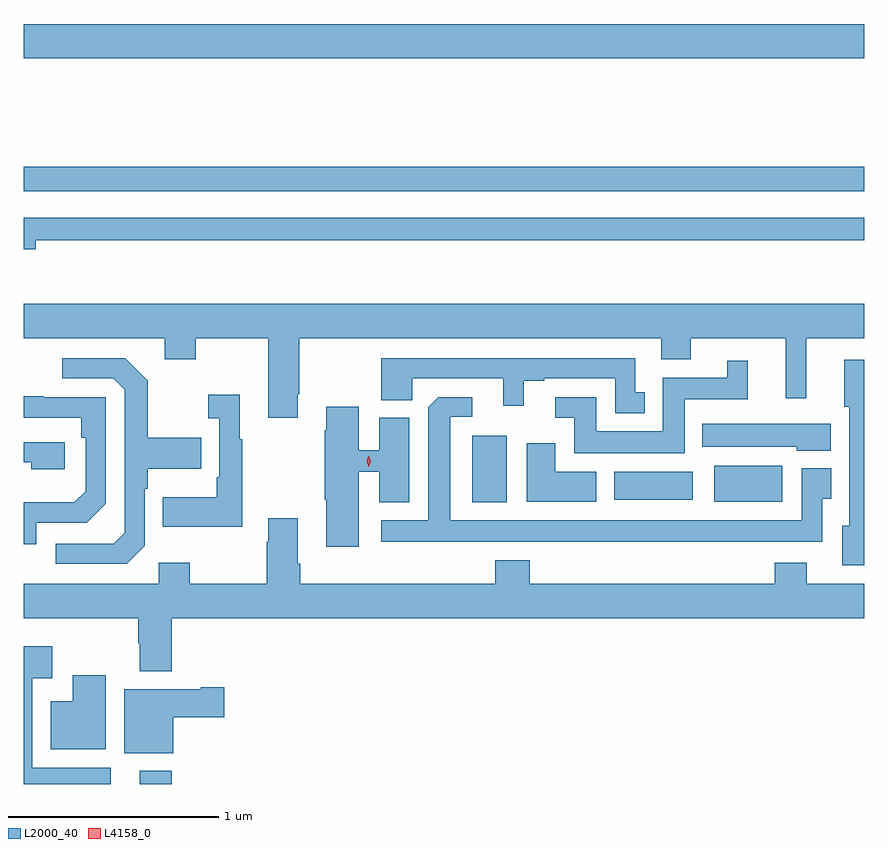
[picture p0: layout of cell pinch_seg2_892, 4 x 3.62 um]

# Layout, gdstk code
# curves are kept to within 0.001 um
import gdstk
lib = gdstk.Library(unit=1e-6, precision=1e-09)
def R(c, l, rs):  # rectangles x0, y0, x1, y1
    for r in rs: c.add(gdstk.rectangle(r[:2], r[2:], *l))
def P(c, l, *ps):  # polygons
    for p in ps: c.add(gdstk.Polygon(p, *l))
L2000_40 = (2000, 40)
L4158_0 = (4158, 0)

pinch_seg2_892 = lib.new_cell('pinch_seg2_892')
R(pinch_seg2_892, L2000_40, [(407.531,634.859,407.684,634.921), (409.115,636.2,409.279,636.517), (410.267,636.203,410.59,636.373), (409.79,636.212,410.164,636.346), (406.98,637.68,410.98,637.796), (406.98,638.312,410.98,638.476)])
P(pinch_seg2_892, L2000_40, [(407.038,637.446),(410.98,637.446),(410.98,637.554),(406.98,637.554),(406.98,637.403),(407.038,637.403)],
  [(408.283,636.715),(408.291,636.715),(408.291,636.98),(410.015,636.98),(410.015,636.881),(410.155,636.881),(410.155,636.98),(410.606,636.98),(410.606,636.696),(410.705,636.696),(410.705,636.98),(410.98,636.98),(410.98,637.144),(406.98,637.144),(406.98,636.98),(407.651,636.98),(407.651,636.881),(407.799,636.881),(407.799,636.98),(408.143,636.98),(408.143,636.603),(408.283,636.603)],
  [(407.556,635.994),(407.556,636.263),(407.569,636.263),(407.569,636.359),(407.825,636.359),(407.825,636.507),(407.569,636.507),(407.569,636.779),(407.463,636.885),(407.163,636.885),(407.163,636.789),(407.406,636.789),(407.46,636.735),(407.46,636.054),(407.409,636.003),(407.133,636.003),(407.133,635.907),(407.469,635.907)],
  [(409.936,636.723),(409.89,636.723),(409.89,636.885),(408.682,636.885),(408.682,636.686),(408.828,636.686),(408.828,636.789),(409.262,636.789),(409.262,636.66),(409.36,636.66),(409.36,636.777),(409.456,636.777),(409.456,636.789),(409.794,636.789),(409.794,636.623),(409.936,636.623)],
  [(410.98,636.877),(410.885,636.877),(410.885,636.654),(410.909,636.654),(410.909,636.087),(410.876,636.087),(410.876,635.9),(410.98,635.9)],
  [(410.125,636.689),(410.426,636.689),(410.426,636.874),(410.327,636.874),(410.327,636.793),(410.021,636.793),(410.021,636.538),(409.705,636.538),(409.705,636.699),(409.509,636.699),(409.509,636.603),(409.601,636.603),(409.601,636.434),(410.125,636.434)],
  [(408.019,636.499),(408.007,636.499),(408.007,636.712),(407.859,636.712),(407.859,636.599),(407.91,636.599),(407.91,636.319),(407.898,636.319),(407.898,636.223),(407.641,636.223),(407.641,636.083),(408.019,636.083)],
  [(407.04,636.102),(407.28,636.102),(407.37,636.192),(407.37,636.699),(407.075,636.699),(407.075,636.704),(406.98,636.704),(406.98,636.603),(407.254,636.603),(407.254,636.506),(407.274,636.506),(407.274,636.252),(407.221,636.199),(406.98,636.199),(406.98,636),(407.04,636)],
  [(410.779,636.217),(410.824,636.217),(410.824,636.361),(410.682,636.361),(410.682,636.115),(409.009,636.115),(409.009,636.606),(409.114,636.606),(409.114,636.699),(408.952,636.699),(408.906,636.653),(408.905,636.115),(408.681,636.115),(408.681,636.011),(410.779,636.011)],
  [(408.574,636.346),(408.671,636.346),(408.671,636.2),(408.814,636.2),(408.814,636.601),(408.671,636.601),(408.671,636.447),(408.574,636.447),(408.574,636.655),(408.419,636.655),(408.419,636.542),(408.412,636.542),(408.412,636.211),(408.419,636.211),(408.419,635.988),(408.574,635.988)],
  [(410.821,636.574),(410.21,636.574),(410.21,636.464),(410.658,636.464),(410.658,636.446),(410.821,636.446)],
  [(407.176,636.486),(406.98,636.486),(406.98,636.39),(407.015,636.39),(407.015,636.356),(407.176,636.356)],
  [(409.705,636.346),(409.51,636.346),(409.51,636.481),(409.373,636.481),(409.373,636.203),(409.705,636.203)],
  [(407.684,635.648),(410.98,635.648),(410.98,635.812),(410.707,635.812),(410.707,635.911),(410.555,635.911),(410.555,635.812),(409.388,635.812),(409.388,635.923),(409.223,635.923),(409.223,635.812),(408.296,635.812),(408.296,635.908),(408.283,635.908),(408.283,636.124),(408.143,636.124),(408.143,636.011),(408.136,636.011),(408.136,635.812),(407.769,635.812),(407.769,635.911),(407.622,635.911),(407.622,635.812),(406.98,635.812),(406.98,635.648),(407.524,635.648),(407.524,635.528),(407.531,635.528),(407.531,635.396),(407.684,635.396)],
  [(407.395,634.936),(407.02,634.936),(407.02,635.363),(407.116,635.363),(407.116,635.515),(406.98,635.515),(406.98,634.859),(407.395,634.859)],
  [(407.371,635.377),(407.213,635.377),(407.213,635.254),(407.108,635.254),(407.108,635.024),(407.371,635.024)],
  [(407.692,635.177),(407.935,635.177),(407.935,635.319),(407.822,635.319),(407.822,635.311),(407.459,635.311),(407.459,635.006),(407.692,635.006)])
P(pinch_seg2_892, L4158_0, [(408.622,636.37),(408.622,636.37),(408.612,636.396),(408.622,636.422),(408.622,636.422),(408.622,636.422),(408.632,636.396),(408.622,636.37)])

lib.write_gds('pinch_seg2_892.gds')
